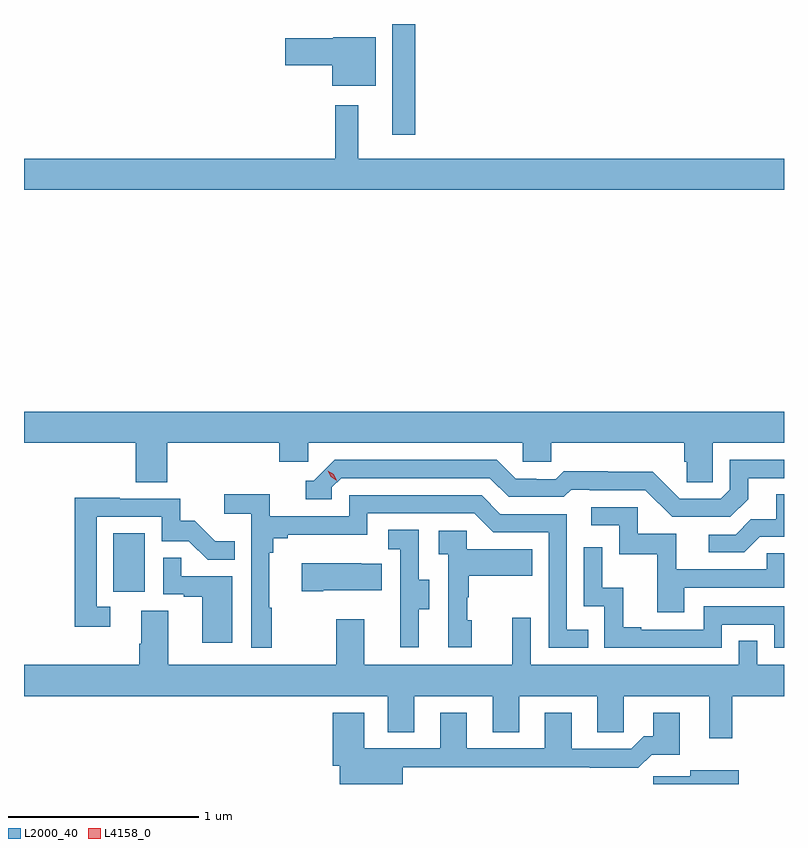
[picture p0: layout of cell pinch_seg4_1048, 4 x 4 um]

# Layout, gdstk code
import gdstk
lib = gdstk.Library(unit=1e-6, precision=1e-09)
def R(c, l, rs):  # rectangles x0, y0, x1, y1
    for r in rs: c.add(gdstk.rectangle(r[:2], r[2:], *l))
def P(c, l, *ps):  # polygons
    for p in ps: c.add(gdstk.Polygon(p, *l))
L2000_40 = (2000, 40)
L4158_0 = (4158, 0)

pinch_seg4_1048 = lib.new_cell('pinch_seg4_1048')
R(pinch_seg4_1048, L2000_40, [(837.536,756.078,837.7,756.385), (839.003,758.481,839.125,759.065)])
P(pinch_seg4_1048, L2000_40, [(838.915,758.995),(838.692,758.995),(838.692,758.99),(838.44,758.99),(838.44,758.848),(838.688,758.848),(838.688,758.741),(838.915,758.741)],
  [(841.065,758.356),(838.825,758.356),(838.825,758.638),(838.704,758.638),(838.704,758.356),(837.065,758.356),(837.065,758.192),(841.065,758.192)],
  [(837.818,756.86),(838.409,756.86),(838.409,756.762),(838.56,756.762),(838.56,756.86),(839.691,756.86),(839.691,756.762),(839.841,756.762),(839.841,756.86),(840.539,756.86),(840.539,756.762),(840.553,756.762),(840.553,756.652),(840.69,756.652),(840.69,756.86),(841.065,756.86),(841.065,757.024),(837.065,757.024),(837.065,756.86),(837.653,756.86),(837.653,756.652),(837.818,756.652)],
  [(840.877,756.565),(840.877,756.675),(841.065,756.675),(841.065,756.771),(840.78,756.771),(840.78,756.615),(840.732,756.567),(840.516,756.567),(840.374,756.709),(840.138,756.709),(840.138,756.712),(839.905,756.712),(839.863,756.669),(839.76,756.669),(839.76,756.672),(839.653,756.672),(839.554,756.771),(838.701,756.771),(838.59,756.66),(838.547,756.66),(838.547,756.564),(838.686,756.564),(838.686,756.627),(838.734,756.675),(839.517,756.675),(839.616,756.576),(839.905,756.576),(839.944,756.615),(840.043,756.615),(840.043,756.612),(840.336,756.612),(840.477,756.471),(840.783,756.471)],
  [(838.369,755.993),(838.357,755.993),(838.357,756.281),(838.376,756.281),(838.376,756.358),(838.453,756.358),(838.453,756.377),(838.872,756.377),(838.872,756.489),(839.436,756.489),(839.535,756.39),(839.826,756.39),(839.826,755.781),(840.035,755.781),(840.035,755.877),(839.922,755.877),(839.922,756.486),(839.572,756.486),(839.473,756.585),(838.776,756.585),(838.776,756.474),(838.358,756.474),(838.358,756.59),(838.119,756.59),(838.119,756.488),(838.26,756.488),(838.26,755.781),(838.369,755.781)],
  [(840.937,756.366),(841.065,756.366),(841.065,756.59),(841.025,756.59),(841.025,756.458),(840.89,756.458),(840.81,756.378),(840.669,756.378),(840.669,756.285),(840.856,756.285)],
  [(837.52,755.997),(837.447,755.997),(837.447,756.471),(837.789,756.471),(837.789,756.342),(837.933,756.342),(838.031,756.244),(838.175,756.244),(838.175,756.343),(838.071,756.343),(837.964,756.45),(837.888,756.45),(837.888,756.567),(837.569,756.567),(837.569,756.572),(837.331,756.572),(837.331,755.892),(837.52,755.892)],
  [(840.541,756.099),(841.065,756.099),(841.065,756.279),(840.973,756.279),(840.973,756.195),(840.499,756.195),(840.499,756.381),(840.294,756.381),(840.294,756.522),(840.051,756.522),(840.051,756.426),(840.198,756.426),(840.198,756.273),(840.397,756.273),(840.397,755.97),(840.541,755.97)],
  [(839.143,755.986),(839.197,755.986),(839.197,756.141),(839.142,756.141),(839.142,756.404),(838.983,756.404),(838.983,756.301),(839.046,756.301),(839.046,755.997),(839.045,755.997),(839.045,755.784),(839.143,755.784)],
  [(839.422,755.928),(839.397,755.928),(839.397,756.047),(839.407,756.047),(839.407,756.161),(839.741,756.161),(839.741,756.301),(839.394,756.301),(839.394,756.399),(839.247,756.399),(839.247,756.275),(839.298,756.275),(839.298,755.784),(839.422,755.784)],
  [(840.738,755.904),(841.014,755.904),(841.014,755.781),(841.065,755.781),(841.065,756),(840.642,756),(840.642,755.877),(840.313,755.877),(840.313,755.89),(840.218,755.89),(840.218,756.098),(840.108,756.098),(840.108,756.31),(840.012,756.31),(840.012,756),(840.12,756),(840.12,755.781),(840.738,755.781)],
  [(838.162,756.159),(837.893,756.159),(837.893,756.257),(837.798,756.257),(837.798,756.063),(837.905,756.063),(837.905,756.051),(838.004,756.051),(838.004,755.808),(838.162,755.808)],
  [(838.639,756.086),(838.949,756.086),(838.949,756.223),(838.841,756.223),(838.841,756.226),(838.527,756.226),(838.527,756.079),(838.639,756.079)],
  [(840.793,755.528),(841.065,755.528),(841.065,755.692),(840.924,755.692),(840.924,755.819),(840.828,755.819),(840.828,755.692),(839.733,755.692),(839.733,755.941),(839.636,755.941),(839.636,755.692),(838.855,755.692),(838.855,755.932),(838.708,755.932),(838.708,755.692),(837.823,755.692),(837.823,755.978),(837.683,755.978),(837.683,755.804),(837.671,755.804),(837.671,755.692),(837.065,755.692),(837.065,755.528),(838.979,755.528),(838.979,755.338),(839.119,755.338),(839.119,755.528),(839.531,755.528),(839.531,755.338),(839.671,755.338),(839.671,755.528),(840.083,755.528),(840.083,755.338),(840.222,755.338),(840.222,755.528),(840.671,755.528),(840.671,755.307),(840.793,755.307)],
  [(839.059,755.152),(840.043,755.152),(840.043,755.15),(840.299,755.15),(840.368,755.219),(840.517,755.219),(840.517,755.44),(840.377,755.44),(840.377,755.317),(840.328,755.317),(840.261,755.25),(839.947,755.25),(839.947,755.44),(839.807,755.44),(839.807,755.253),(839.395,755.253),(839.395,755.44),(839.255,755.44),(839.255,755.253),(838.855,755.253),(838.855,755.44),(838.691,755.44),(838.691,755.16),(838.727,755.16),(838.727,755.065),(839.059,755.065)],
  [(840.826,755.137),(840.572,755.137),(840.572,755.105),(840.378,755.105),(840.378,755.065),(840.826,755.065)])
P(pinch_seg4_1048, L4158_0, [(838.711,756.662),(838.68,756.681),(838.663,756.713),(838.663,756.714),(838.663,756.714),(838.694,756.694),(838.711,756.662),(838.711,756.662)])

lib.write_gds('pinch_seg4_1048.gds')
